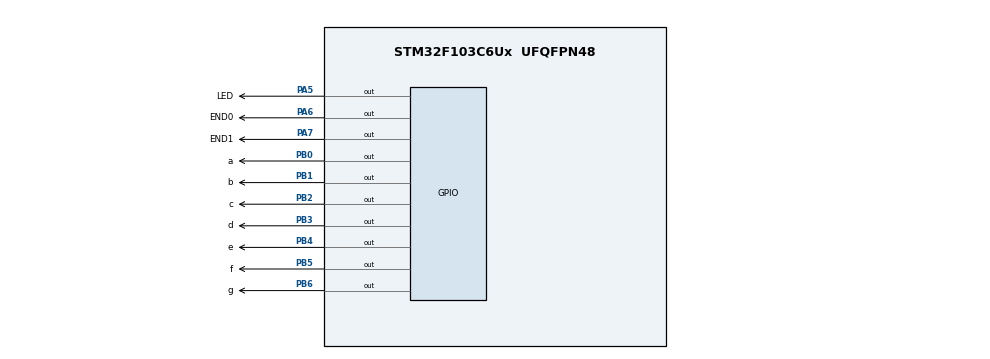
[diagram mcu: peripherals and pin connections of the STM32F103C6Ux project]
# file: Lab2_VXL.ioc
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Mcu.Family=STM32F1
Mcu.Name=STM32F103C6Ux
Mcu.Package=UFQFPN48
NVIC.PriorityGroup=NVIC_PRIORITYGROUP_4
NVIC.TIM2_IRQn=true\:0\:0\:false\:false\:true\:true\:true\:true
PA5.GPIO_Label=LED
PA5.Signal=GPIO_Output
PA6.GPIO_Label=END0
PA6.Signal=GPIO_Output
PA7.GPIO_Label=END1
PA7.Signal=GPIO_Output
PB0.GPIO_Label=a
PB0.Signal=GPIO_Output
PB1.GPIO_Label=b
PB1.Signal=GPIO_Output
PB2.GPIO_Label=c
PB2.Signal=GPIO_Output
PB3.GPIO_Label=d
PB3.Signal=GPIO_Output
PB4.GPIO_Label=e
PB4.Signal=GPIO_Output
PB5.GPIO_Label=f
PB5.Signal=GPIO_Output
PB6.GPIO_Label=g
PB6.Signal=GPIO_Output
ProjectManager.HeapSize=0x200
ProjectManager.StackSize=0x400
ProjectManager.TargetToolchain=STM32CubeIDE
RCC.APB1Freq_Value=8000000
RCC.APB2Freq_Value=8000000
TIM2.Period=9
TIM2.Prescaler=7999
VP_TIM2_VS_ClockSourceINT.Mode=Internal
board=custom

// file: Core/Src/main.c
/* USER CODE BEGIN Header */
/**
  ******************************************************************************
  * @file           : main.c
  * @brief          : Main program body
  ******************************************************************************
  * @attention
  *
  * Copyright (c) 2023 STMicroelectronics.
  * All rights reserved.
  *
  * This software is licensed under terms that can be found in the LICENSE file
  * in the root directory of this software component.
  * If no LICENSE file comes with this software, it is provided AS-IS.
  *
  ******************************************************************************
  */
/* USER CODE END Header */
#include "main.h"

TIM_HandleTypeDef htim2;

void SystemClock_Config(void);
static void MX_GPIO_Init(void);
static void MX_TIM2_Init(void);

/* USER CODE BEGIN 0 */
void display7SEG(int num)
{
	switch(num)
	{
		case 0:
		{
			  HAL_GPIO_WritePin(GPIOB, a_Pin, RESET);  //0
			  HAL_GPIO_WritePin(GPIOB, b_Pin, RESET);
			  HAL_GPIO_WritePin(GPIOB, c_Pin, RESET);
			  HAL_GPIO_WritePin(GPIOB, d_Pin, RESET);
			  HAL_GPIO_WritePin(GPIOB, e_Pin, RESET);
			  HAL_GPIO_WritePin(GPIOB, f_Pin, RESET);
			  HAL_GPIO_WritePin(GPIOB, g_Pin, SET);
			  break;
		}

		case 1:
		{
			  HAL_GPIO_WritePin(GPIOB, a_Pin, SET);	//1
			  HAL_GPIO_WritePin(GPIOB, b_Pin, RESET);
			  HAL_GPIO_WritePin(GPIOB, c_Pin, RESET);
			  HAL_GPIO_WritePin(GPIOB, d_Pin, SET);
			  HAL_GPIO_WritePin(GPIOB, e_Pin, SET);
			  HAL_GPIO_WritePin(GPIOB, f_Pin, SET);
			  HAL_GPIO_WritePin(GPIOB, g_Pin, SET);
			  break;
		}
		case 2:
		{
			  HAL_GPIO_WritePin(GPIOB, a_Pin, RESET);	//2
			  HAL_GPIO_WritePin(GPIOB, b_Pin, RESET);
			  HAL_GPIO_WritePin(GPIOB, c_Pin, SET);
			  HAL_GPIO_WritePin(GPIOB, d_Pin, RESET);
			  HAL_GPIO_WritePin(GPIOB, e_Pin, RESET);
			  HAL_GPIO_WritePin(GPIOB, f_Pin, SET);
			  HAL_GPIO_WritePin(GPIOB, g_Pin, RESET);
			  break;
		}
		case 3:
		{
			  HAL_GPIO_WritePin(GPIOB, a_Pin, RESET);	//3
			  HAL_GPIO_WritePin(GPIOB, b_Pin, RESET);
			  HAL_GPIO_WritePin(GPIOB, c_Pin, RESET);
			  HAL_GPIO_WritePin(GPIOB, d_Pin, RESET);
			  HAL_GPIO_WritePin(GPIOB, e_Pin, SET);
			  HAL_GPIO_WritePin(GPIOB, f_Pin, SET);
			  HAL_GPIO_WritePin(GPIOB, g_Pin, RESET);
			  break;
		}
		case 4:
		{
			  HAL_GPIO_WritePin(GPIOB, a_Pin, SET);	//4
			  HAL_GPIO_WritePin(GPIOB, b_Pin, RESET);
			  HAL_GPIO_WritePin(GPIOB, c_Pin, RESET);
			  HAL_GPIO_WritePin(GPIOB, d_Pin, SET);
			  HAL_GPIO_WritePin(GPIOB, e_Pin, SET);
			  HAL_GPIO_WritePin(GPIOB, f_Pin, RESET);
			  HAL_GPIO_WritePin(GPIOB, g_Pin, RESET);
			  break;
		}
		case 5:
		{
			  HAL_GPIO_WritePin(GPIOB, a_Pin, RESET);	//5
			  HAL_GPIO_WritePin(GPIOB, b_Pin, SET);
			  HAL_GPIO_WritePin(GPIOB, c_Pin, RESET);
			  HAL_GPIO_WritePin(GPIOB, d_Pin, RESET);
			  HAL_GPIO_WritePin(GPIOB, e_Pin, SET);
			  HAL_GPIO_WritePin(GPIOB, f_Pin, RESET);
			  HAL_GPIO_WritePin(GPIOB, g_Pin, RESET);
			  break;
		}
		case 6:
		{
			  HAL_GPIO_WritePin(GPIOB, a_Pin, RESET);	//6
			  HAL_GPIO_WritePin(GPIOB, b_Pin, SET);
			  HAL_GPIO_WritePin(GPIOB, c_Pin, RESET);
			  HAL_GPIO_WritePin(GPIOB, d_Pin, RESET);
			  HAL_GPIO_WritePin(GPIOB, e_Pin, RESET);
			  HAL_GPIO_WritePin(GPIOB, f_Pin, RESET);
			  HAL_GPIO_WritePin(GPIOB, g_Pin, RESET);
			  break;
		}
		case 7:
		{
			  HAL_GPIO_WritePin(GPIOB, a_Pin, RESET);	//7
			  HAL_GPIO_WritePin(GPIOB, b_Pin, RESET);
			  HAL_GPIO_WritePin(GPIOB, c_Pin, RESET);
			  HAL_GPIO_WritePin(GPIOB, d_Pin, SET);
			  HAL_GPIO_WritePin(GPIOB, e_Pin, SET);
			  HAL_GPIO_WritePin(GPIOB, f_Pin, SET);
			  HAL_GPIO_WritePin(GPIOB, g_Pin, SET);
			  break;
		}
		case 8:
		{
			  HAL_GPIO_WritePin(GPIOB, a_Pin, RESET);	//8
			  HAL_GPIO_WritePin(GPIOB, b_Pin, RESET);
			  HAL_GPIO_WritePin(GPIOB, c_Pin, RESET);
			  HAL_GPIO_WritePin(GPIOB, d_Pin, RESET);
			  HAL_GPIO_WritePin(GPIOB, e_Pin, RESET);
			  HAL_GPIO_WritePin(GPIOB, f_Pin, RESET);
			  HAL_GPIO_WritePin(GPIOB, g_Pin, RESET);
			  break;
		}
		case 9:
		{
			  HAL_GPIO_WritePin(GPIOB, a_Pin, RESET);	//9
			  HAL_GPIO_WritePin(GPIOB, b_Pin, RESET);
			  HAL_GPIO_WritePin(GPIOB, c_Pin, RESET);
			  HAL_GPIO_WritePin(GPIOB, d_Pin, RESET);
			  HAL_GPIO_WritePin(GPIOB, e_Pin, SET);
			  HAL_GPIO_WritePin(GPIOB, f_Pin, RESET);
			  HAL_GPIO_WritePin(GPIOB, g_Pin, RESET);
			  break;
		}
	}
}
/* USER CODE END 0 */

int main(void)
{

  /* MCU Configuration--------------------------------------------------------*/

  /* Reset of all peripherals, Initializes the Flash interface and the Systick. */
  HAL_Init();

  /* Configure the system clock */
  SystemClock_Config();

  /* Initialize all configured peripherals */
  MX_GPIO_Init();
  MX_TIM2_Init();
  /* USER CODE BEGIN 2 */
  HAL_TIM_Base_Start_IT (&htim2);
  /* USER CODE END 2 */

  /* Infinite loop */
  while (1)
  {

  }
}

void SystemClock_Config(void)
{
  RCC_OscInitTypeDef RCC_OscInitStruct = {0};
  RCC_ClkInitTypeDef RCC_ClkInitStruct = {0};

  /** Initializes the RCC Oscillators according to the specified parameters
  * in the RCC_OscInitTypeDef structure.
  */
  RCC_OscInitStruct.OscillatorType = RCC_OSCILLATORTYPE_HSI;
  RCC_OscInitStruct.HSIState = RCC_HSI_ON;
  RCC_OscInitStruct.HSICalibrationValue = RCC_HSICALIBRATION_DEFAULT;
  RCC_OscInitStruct.PLL.PLLState = RCC_PLL_NONE;
  if (HAL_RCC_OscConfig(&RCC_OscInitStruct) != HAL_OK)
  {
    Error_Handler();
  }

  /** Initializes the CPU, AHB and APB buses clocks
  */
  RCC_ClkInitStruct.ClockType = RCC_CLOCKTYPE_HCLK|RCC_CLOCKTYPE_SYSCLK
                              |RCC_CLOCKTYPE_PCLK1|RCC_CLOCKTYPE_PCLK2;
  RCC_ClkInitStruct.SYSCLKSource = RCC_SYSCLKSOURCE_HSI;
  RCC_ClkInitStruct.AHBCLKDivider = RCC_SYSCLK_DIV1;
  RCC_ClkInitStruct.APB1CLKDivider = RCC_HCLK_DIV1;
  RCC_ClkInitStruct.APB2CLKDivider = RCC_HCLK_DIV1;

  if (HAL_RCC_ClockConfig(&RCC_ClkInitStruct, FLASH_LATENCY_0) != HAL_OK)
  {
    Error_Handler();
  }
}

static void MX_TIM2_Init(void)
{

  TIM_ClockConfigTypeDef sClockSourceConfig = {0};
  TIM_MasterConfigTypeDef sMasterConfig = {0};

  htim2.Instance = TIM2;
  htim2.Init.Prescaler = 7999;
  htim2.Init.CounterMode = TIM_COUNTERMODE_UP;
  htim2.Init.Period = 9;
  htim2.Init.ClockDivision = TIM_CLOCKDIVISION_DIV1;
  htim2.Init.AutoReloadPreload = TIM_AUTORELOAD_PRELOAD_DISABLE;
  if (HAL_TIM_Base_Init(&htim2) != HAL_OK)
  {
    Error_Handler();
  }
  sClockSourceConfig.ClockSource = TIM_CLOCKSOURCE_INTERNAL;
  if (HAL_TIM_ConfigClockSource(&htim2, &sClockSourceConfig) != HAL_OK)
  {
    Error_Handler();
  }
  sMasterConfig.MasterOutputTrigger = TIM_TRGO_RESET;
  sMasterConfig.MasterSlaveMode = TIM_MASTERSLAVEMODE_DISABLE;
  if (HAL_TIMEx_MasterConfigSynchronization(&htim2, &sMasterConfig) != HAL_OK)
  {
    Error_Handler();
  }

}

static void MX_GPIO_Init(void)
{
  GPIO_InitTypeDef GPIO_InitStruct = {0};

  /* GPIO Ports Clock Enable */
  __HAL_RCC_GPIOA_CLK_ENABLE();
  __HAL_RCC_GPIOB_CLK_ENABLE();

  /*Configure GPIO pin Output Level */
  HAL_GPIO_WritePin(GPIOA, LED_Pin|END0_Pin|END1_Pin, GPIO_PIN_RESET);

  /*Configure GPIO pin Output Level */
  HAL_GPIO_WritePin(GPIOB, a_Pin|b_Pin|c_Pin|d_Pin
                          |e_Pin|f_Pin|g_Pin, GPIO_PIN_RESET);

  /*Configure GPIO pins : LED_Pin END0_Pin END1_Pin */
  GPIO_InitStruct.Pin = LED_Pin|END0_Pin|END1_Pin;
  GPIO_InitStruct.Mode = GPIO_MODE_OUTPUT_PP;
  GPIO_InitStruct.Pull = GPIO_NOPULL;
  GPIO_InitStruct.Speed = GPIO_SPEED_FREQ_LOW;
  HAL_GPIO_Init(GPIOA, &GPIO_InitStruct);

  /*Configure GPIO pins : a_Pin b_Pin c_Pin d_Pin
                           e_Pin f_Pin g_Pin */
  GPIO_InitStruct.Pin = a_Pin|b_Pin|c_Pin|d_Pin
                          |e_Pin|f_Pin|g_Pin;
  GPIO_InitStruct.Mode = GPIO_MODE_OUTPUT_PP;
  GPIO_InitStruct.Pull = GPIO_NOPULL;
  GPIO_InitStruct.Speed = GPIO_SPEED_FREQ_LOW;
  HAL_GPIO_Init(GPIOB, &GPIO_InitStruct);

}

/* USER CODE BEGIN 4 */
int counter = 0;
int num = 0;
void HAL_TIM_PeriodElapsedCallback(TIM_HandleTypeDef *htim)
{
	if (counter == 0)
	{
		HAL_GPIO_WritePin(LED_GPIO_Port, LED_Pin, SET);
		HAL_GPIO_WritePin(END0_GPIO_Port, END0_Pin, RESET);
		HAL_GPIO_WritePin(END1_GPIO_Port, END1_Pin, SET);
		display7SEG(num);
	}
	if (counter == 50)
	{
		HAL_GPIO_WritePin(LED_GPIO_Port, LED_Pin, RESET);
		HAL_GPIO_WritePin(END0_GPIO_Port, END0_Pin, SET);
		HAL_GPIO_WritePin(END1_GPIO_Port, END1_Pin, RESET);
		display7SEG(num);
	}
	if (counter >= 99)
		counter = -1;

	if (num > 9)
		num =0;
	if (counter == 0 || counter == 50)
		num++;
	counter++;

}
/* USER CODE END 4 */

void Error_Handler(void)
{
  __disable_irq();
  while (1)
  {
  }
}
